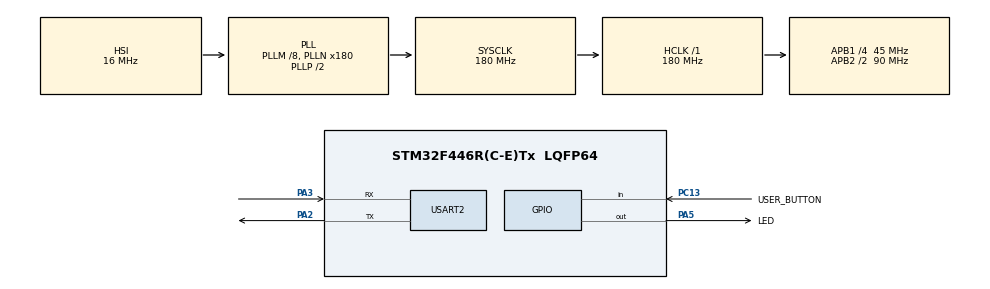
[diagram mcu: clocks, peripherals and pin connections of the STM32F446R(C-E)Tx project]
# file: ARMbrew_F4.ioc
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Mcu.Family=STM32F4
Mcu.Name=STM32F446R(C-E)Tx
Mcu.Package=LQFP64
NVIC.PriorityGroup=NVIC_PRIORITYGROUP_4
NVIC.TIM6_DAC_IRQn=true\:0\:0\:false\:false\:true
PA13.Mode=Trace-Asynchronous_SW
PA13.Signal=SYS_JTMS-SWDIO
PA14.Mode=Trace-Asynchronous_SW
PA14.Signal=SYS_JTCK-SWCLK
PA2.Mode=Asynchronous
PA2.Signal=USART2_TX
PA3.Mode=Asynchronous
PA3.Signal=USART2_RX
PA5.GPIO_Label=LED
PA5.Signal=GPIO_Output
PB3.Mode=Trace-Asynchronous_SW
PB3.Signal=SYS_JTDO-SWO
PC13.GPIO_Label=USER_BUTTON
PC13.Signal=GPIO_Input
PH0-OSC_IN.Mode=HSE-External-Oscillator
PH0-OSC_IN.Signal=RCC_OSC_IN
PH1-OSC_OUT.Mode=HSE-External-Oscillator
PH1-OSC_OUT.Signal=RCC_OSC_OUT
ProjectManager.HeapSize=0x400
ProjectManager.StackSize=0x200
ProjectManager.TargetToolchain=TrueSTUDIO
RCC.AHBFreq_Value=180000000
RCC.APB1CLKDivider=RCC_HCLK_DIV4
RCC.APB1Freq_Value=45000000
RCC.APB1TimFreq_Value=90000000
RCC.APB2CLKDivider=RCC_HCLK_DIV2
RCC.APB2Freq_Value=90000000
RCC.APB2TimFreq_Value=180000000
RCC.CortexFreq_Value=180000000
RCC.HCLKFreq_Value=180000000
RCC.HSE_VALUE=8000000
RCC.PLLM=8
RCC.PLLN=180
RCC.PLLQ=8
RCC.PLLSAIM=8
RCC.PLLSAIP=RCC_PLLSAIP_DIV4
RCC.SYSCLKFreq_VALUE=180000000
RCC.SYSCLKSource=RCC_SYSCLKSOURCE_PLLCLK
RCC.USBCLockSelection=RCC_CK48CLKSOURCE_PLLSAIP
RCC.USBFreq_Value=96000000
RCC.VCOOutputFreq_Value=360000000
TIM6.Period=45000
TIM6.Prescaler=2
VP_TIM6_VS_ClockSourceINT.Mode=Enable_Timer
board=ARMbrew_F4

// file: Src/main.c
/**
  ******************************************************************************
  * File Name          : main.c
  * Description        : Main program body
  ******************************************************************************
  *
  * COPYRIGHT(c) 2016 STMicroelectronics
  *
  * Redistribution and use in source and binary forms, with or without modification,
  * are permitted provided that the following conditions are met:
  *   1. Redistributions of source code must retain the above copyright notice,
  *      this list of conditions and the following disclaimer.
  *   2. Redistributions in binary form must reproduce the above copyright notice,
  *      this list of conditions and the following disclaimer in the documentation
  *      and/or other materials provided with the distribution.
  *   3. Neither the name of STMicroelectronics nor the names of its contributors
  *      may be used to endorse or promote products derived from this software
  *      without specific prior written permission.
  *
  * THIS SOFTWARE IS PROVIDED BY THE COPYRIGHT HOLDERS AND CONTRIBUTORS "AS IS"
  * AND ANY EXPRESS OR IMPLIED WARRANTIES, INCLUDING, BUT NOT LIMITED TO, THE
  * IMPLIED WARRANTIES OF MERCHANTABILITY AND FITNESS FOR A PARTICULAR PURPOSE ARE
  * DISCLAIMED. IN NO EVENT SHALL THE COPYRIGHT HOLDER OR CONTRIBUTORS BE LIABLE
  * FOR ANY DIRECT, INDIRECT, INCIDENTAL, SPECIAL, EXEMPLARY, OR CONSEQUENTIAL
  * DAMAGES (INCLUDING, BUT NOT LIMITED TO, PROCUREMENT OF SUBSTITUTE GOODS OR
  * SERVICES; LOSS OF USE, DATA, OR PROFITS; OR BUSINESS INTERRUPTION) HOWEVER
  * CAUSED AND ON ANY THEORY OF LIABILITY, WHETHER IN CONTRACT, STRICT LIABILITY,
  * OR TORT (INCLUDING NEGLIGENCE OR OTHERWISE) ARISING IN ANY WAY OUT OF THE USE
  * OF THIS SOFTWARE, EVEN IF ADVISED OF THE POSSIBILITY OF SUCH DAMAGE.
  *
  ******************************************************************************
  */
#include "stm32f4xx_hal.h"

/* USER CODE BEGIN Includes */
#include "strings.h"
#include "tm_stm32f4_hd44780.h"
#include "tm_stm32f4_onewire.h"

/* USER CODE END Includes */

TIM_HandleTypeDef htim6;

UART_HandleTypeDef huart2;

/* USER CODE BEGIN PV */
/* Private variables ---------------------------------------------------------*/

/* USER CODE END PV */

void SystemClock_Config(void);
static void MX_GPIO_Init(void);
static void MX_TIM6_Init(void);
static void MX_USART2_UART_Init(void);

/* USER CODE BEGIN PFP */
/* Private function prototypes -----------------------------------------------*/

/* USER CODE END PFP */

int main(void)
{

  /* USER CODE BEGIN 1 */
	//String for printing stuff
	char test[255]="TEST3 ";
	//One-Wire Variables

	    uint8_t devices, i, j, count, device[2][8];
	    /* OneWire working structure */
	    TM_OneWire_t OneWire1;

	uint8_t degreeSignChar[] = {
		0b00110,		// xxx 00110
		0b01001,		// xxx 01001
		0b01001,		// xxx 01001
		0b00110,		// xxx 00110
		0b00000,		// xxx 00000
		0b00000,		// xxx 00000
		0b00000,		// xxx 00000
		0b00000			// xxx 00000
	};

  /* USER CODE END 1 */

  /* MCU Configuration----------------------------------------------------------*/

  /* Reset of all peripherals, Initializes the Flash interface and the Systick. */
  HAL_Init();

  /* Configure the system clock */
  SystemClock_Config();

  /* Initialize all configured peripherals */
  MX_GPIO_Init();
  MX_TIM6_Init();
  MX_USART2_UART_Init();

  /* USER CODE BEGIN 2 */

  HAL_TIM_Base_Start_IT(&htim6);

  //Init 4x20 LCD
  TM_HD44780_Init(20,4);
  TM_HD44780_CreateChar(0, &degreeSignChar[0]);

  //Print String on LCD
  sprintf(test,"Test : %3.2f  C\n\rL2\n\rL3\n\rL4",124.2);
  TM_HD44780_Puts(0, 0, test);
  //Put the degree Sign
  TM_HD44780_PutCustom(14,0,0);

  //Print Test String on UART2
  sprintf(test,"\n\rthis is a test\n\r");
  HAL_UART_Transmit(&huart2,test,strlen(test),200);

  TM_OneWire_Init(&OneWire1, GPIOD, GPIO_PIN_2);

  devices = TM_OneWire_First(&OneWire1);
      count = 0;
      while (devices) {
          /* Increase count variable */
          count++;

          /* Get full 8-bytes rom address */
          TM_OneWire_GetFullROM(&OneWire1, device[count - 1]);

          /* Check for new device */
          devices = TM_OneWire_Next(&OneWire1);
      }

      /* If any devices on 1-wire */
      if (count > 0) {
    	  sprintf(test,"Devices found on 1-wire instance: %d\n", count);
    	  HAL_UART_Transmit(&huart2,test,strlen(test),200);

          /* Display 64bit rom code */
          for (j = 0; j < count; j++) {
              for (i = 0; i < 8; i++) {
            	  sprintf(test,"0x%02X ", device[j][i]);
            	  HAL_UART_Transmit(&huart2,test,strlen(test),200);
              }
              sprintf(test, "\n");
          }
      } else {
          /* Nothing on OneWire */
    	  sprintf(test,"No devices on OneWire.\n\n");
      }

  /* USER CODE END 2 */

  /* Infinite loop */
  /* USER CODE BEGIN WHILE */
	while (1)
	{

		//Print Periodic Test on UART
		sprintf(test,"Test 3\n\r");
		HAL_UART_Transmit(&huart2,test,strlen(test),200);

		//1 Second Delay
		HAL_Delay(1000);
  /* USER CODE END WHILE */

  }

}

/** System Clock Configuration
*/
void SystemClock_Config(void)
{

  RCC_OscInitTypeDef RCC_OscInitStruct;
  RCC_ClkInitTypeDef RCC_ClkInitStruct;

  __HAL_RCC_PWR_CLK_ENABLE();

  __HAL_PWR_VOLTAGESCALING_CONFIG(PWR_REGULATOR_VOLTAGE_SCALE1);

  RCC_OscInitStruct.OscillatorType = RCC_OSCILLATORTYPE_HSI;
  RCC_OscInitStruct.HSIState = RCC_HSI_ON;
  RCC_OscInitStruct.HSICalibrationValue = 16;
  RCC_OscInitStruct.PLL.PLLState = RCC_PLL_ON;
  RCC_OscInitStruct.PLL.PLLSource = RCC_PLLSOURCE_HSI;
  RCC_OscInitStruct.PLL.PLLM = 8;
  RCC_OscInitStruct.PLL.PLLN = 180;
  RCC_OscInitStruct.PLL.PLLP = RCC_PLLP_DIV2;
  RCC_OscInitStruct.PLL.PLLQ = 8;
  RCC_OscInitStruct.PLL.PLLR = 2;
  HAL_RCC_OscConfig(&RCC_OscInitStruct);

  HAL_PWREx_EnableOverDrive();

  RCC_ClkInitStruct.ClockType = RCC_CLOCKTYPE_HCLK|RCC_CLOCKTYPE_SYSCLK
                              |RCC_CLOCKTYPE_PCLK1|RCC_CLOCKTYPE_PCLK2;
  RCC_ClkInitStruct.SYSCLKSource = RCC_SYSCLKSOURCE_PLLCLK;
  RCC_ClkInitStruct.AHBCLKDivider = RCC_SYSCLK_DIV1;
  RCC_ClkInitStruct.APB1CLKDivider = RCC_HCLK_DIV4;
  RCC_ClkInitStruct.APB2CLKDivider = RCC_HCLK_DIV2;
  HAL_RCC_ClockConfig(&RCC_ClkInitStruct, FLASH_LATENCY_5);

  HAL_SYSTICK_Config(HAL_RCC_GetHCLKFreq()/1000);

  HAL_SYSTICK_CLKSourceConfig(SYSTICK_CLKSOURCE_HCLK);

  /* SysTick_IRQn interrupt configuration */
  HAL_NVIC_SetPriority(SysTick_IRQn, 0, 0);
}

/* TIM6 init function */
void MX_TIM6_Init(void)
{

  TIM_MasterConfigTypeDef sMasterConfig;

  htim6.Instance = TIM6;
  htim6.Init.Prescaler = 2;
  htim6.Init.CounterMode = TIM_COUNTERMODE_UP;
  htim6.Init.Period = 45000;
  HAL_TIM_Base_Init(&htim6);

  sMasterConfig.MasterOutputTrigger = TIM_TRGO_RESET;
  sMasterConfig.MasterSlaveMode = TIM_MASTERSLAVEMODE_DISABLE;
  HAL_TIMEx_MasterConfigSynchronization(&htim6, &sMasterConfig);

}

/* USART2 init function */
void MX_USART2_UART_Init(void)
{

  huart2.Instance = USART2;
  huart2.Init.BaudRate = 115200;
  huart2.Init.WordLength = UART_WORDLENGTH_8B;
  huart2.Init.StopBits = UART_STOPBITS_1;
  huart2.Init.Parity = UART_PARITY_NONE;
  huart2.Init.Mode = UART_MODE_TX_RX;
  huart2.Init.HwFlowCtl = UART_HWCONTROL_NONE;
  huart2.Init.OverSampling = UART_OVERSAMPLING_16;
  HAL_UART_Init(&huart2);

}

/** Configure pins as
        * Analog
        * Input
        * Output
        * EVENT_OUT
        * EXTI
*/
void MX_GPIO_Init(void)
{

  GPIO_InitTypeDef GPIO_InitStruct;

  /* GPIO Ports Clock Enable */
  __HAL_RCC_GPIOC_CLK_ENABLE();
  __HAL_RCC_GPIOH_CLK_ENABLE();
  __HAL_RCC_GPIOA_CLK_ENABLE();
  __HAL_RCC_GPIOB_CLK_ENABLE();

  /*Configure GPIO pin : USER_BUTTON_Pin */
  GPIO_InitStruct.Pin = USER_BUTTON_Pin;
  GPIO_InitStruct.Mode = GPIO_MODE_INPUT;
  GPIO_InitStruct.Pull = GPIO_NOPULL;
  HAL_GPIO_Init(USER_BUTTON_GPIO_Port, &GPIO_InitStruct);

  /*Configure GPIO pin : LED_Pin */
  GPIO_InitStruct.Pin = LED_Pin;
  GPIO_InitStruct.Mode = GPIO_MODE_OUTPUT_PP;
  GPIO_InitStruct.Pull = GPIO_NOPULL;
  GPIO_InitStruct.Speed = GPIO_SPEED_FREQ_LOW;
  HAL_GPIO_Init(LED_GPIO_Port, &GPIO_InitStruct);

  /*Configure GPIO pin Output Level */
  HAL_GPIO_WritePin(LED_GPIO_Port, LED_Pin, GPIO_PIN_RESET);

}

/************************ (C) COPYRIGHT STMicroelectronics *****END OF FILE****/
